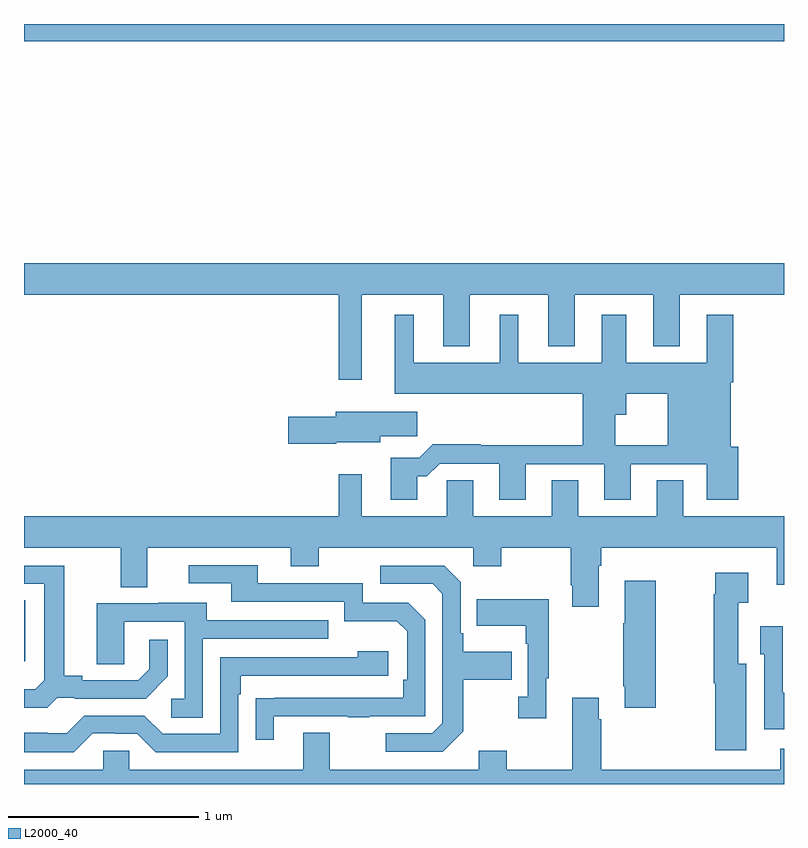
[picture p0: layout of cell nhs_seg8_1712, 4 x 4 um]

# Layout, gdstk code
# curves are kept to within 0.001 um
import gdstk
lib = gdstk.Library(unit=1e-6, precision=1e-09)
def R(c, l, rs):  # rectangles x0, y0, x1, y1
    for r in rs: c.add(gdstk.rectangle(r[:2], r[2:], *l))
def P(c, l, *ps):  # polygons
    for p in ps: c.add(gdstk.Polygon(p, *l))
L2000_40 = (2000, 40)

nhs_seg8_1712 = lib.new_cell('nhs_seg8_1712')
R(nhs_seg8_1712, L2000_40, [(219,1141.808,223,1141.9)])
P(nhs_seg8_1712, L2000_40, [(220.777,1140.476),(221.207,1140.476),(221.207,1140.203),(221.347,1140.203),(221.347,1140.476),(221.759,1140.476),(221.759,1140.203),(221.899,1140.203),(221.899,1140.476),(222.311,1140.476),(222.311,1140.203),(222.451,1140.203),(222.451,1140.476),(223,1140.476),(223,1140.64),(219,1140.64),(219,1140.476),(220.656,1140.476),(220.656,1140.027),(220.777,1140.027)],
  [(221.405,1139.687),(221.15,1139.687),(221.08,1139.617),(220.931,1139.617),(220.931,1139.397),(221.071,1139.397),(221.071,1139.519),(221.12,1139.519),(221.187,1139.586),(221.501,1139.586),(221.501,1139.397),(221.641,1139.397),(221.641,1139.583),(222.053,1139.583),(222.053,1139.397),(222.193,1139.397),(222.193,1139.583),(222.593,1139.583),(222.593,1139.397),(222.758,1139.397),(222.758,1139.676),(222.721,1139.676),(222.721,1140.014),(222.734,1140.014),(222.734,1140.37),(222.593,1140.37),(222.593,1140.118),(222.169,1140.118),(222.169,1140.37),(222.041,1140.37),(222.041,1140.118),(221.602,1140.118),(221.602,1140.37),(221.504,1140.37),(221.504,1140.118),(221.05,1140.118),(221.05,1140.37),(220.952,1140.37),(220.952,1139.954),(221.942,1139.954),(221.942,1139.684),(222.112,1139.684),(222.112,1139.843),(222.169,1139.843),(222.169,1139.954),(222.389,1139.954),(222.389,1139.684),(221.405,1139.684)],
  [(220.644,1139.699),(220.876,1139.699),(220.876,1139.731),(221.071,1139.731),(221.071,1139.86),(220.64,1139.86),(220.64,1139.834),(220.392,1139.834),(220.392,1139.692),(220.644,1139.692)],
  [(222.025,1139.048),(222.038,1139.048),(222.038,1139.144),(222.962,1139.144),(222.962,1138.95),(223,1138.95),(223,1139.308),(222.469,1139.308),(222.469,1139.498),(222.329,1139.498),(222.329,1139.308),(221.917,1139.308),(221.917,1139.498),(221.777,1139.498),(221.777,1139.308),(221.365,1139.308),(221.365,1139.498),(221.226,1139.498),(221.226,1139.308),(220.777,1139.308),(220.777,1139.53),(220.656,1139.53),(220.656,1139.308),(219,1139.308),(219,1139.144),(219.509,1139.144),(219.509,1138.936),(219.649,1138.936),(219.649,1139.144),(220.403,1139.144),(220.403,1139.045),(220.551,1139.045),(220.551,1139.144),(221.364,1139.144),(221.364,1139.045),(221.511,1139.045),(221.511,1139.144),(221.878,1139.144),(221.878,1138.945),(221.885,1138.945),(221.885,1138.833),(222.025,1138.833)],
  [(220.315,1138.257),(220.705,1138.257),(220.705,1138.252),(220.817,1138.252),(220.817,1138.257),(221.112,1138.257),(221.112,1138.764),(221.022,1138.854),(220.782,1138.854),(220.782,1138.956),(220.231,1138.956),(220.231,1139.052),(219.867,1139.052),(219.867,1138.956),(220.091,1138.956),(220.091,1138.86),(220.686,1138.86),(220.686,1138.757),(220.963,1138.757),(221.016,1138.704),(221.016,1138.45),(220.996,1138.45),(220.996,1138.353),(220.219,1138.352),(220.219,1138.134),(220.315,1138.134)],
  [(221.311,1138.177),(221.311,1138.45),(221.567,1138.45),(221.567,1138.597),(221.311,1138.597),(221.311,1138.693),(221.298,1138.693),(221.298,1138.962),(221.211,1139.049),(220.875,1139.049),(220.875,1138.953),(221.151,1138.953),(221.202,1138.902),(221.202,1138.221),(221.148,1138.167),(220.905,1138.167),(220.905,1138.071),(221.205,1138.071)],
  [(219.174,1138.353),(219.268,1138.353),(219.268,1138.35),(219.64,1138.35),(219.756,1138.466),(219.756,1138.66),(219.659,1138.66),(219.659,1138.503),(219.602,1138.446),(219.307,1138.446),(219.307,1138.469),(219.211,1138.469),(219.211,1139.049),(219,1139.049),(219,1138.953),(219.107,1138.953),(219.107,1138.445),(219.06,1138.398),(219,1138.398),(219,1138.301),(219.122,1138.301)],
  [(222.802,1138.534),(222.76,1138.534),(222.76,1138.855),(222.811,1138.855),(222.811,1139.011),(222.638,1139.011),(222.638,1138.898),(222.631,1138.898),(222.631,1138.43),(222.638,1138.43),(222.638,1138.077),(222.802,1138.077)],
  [(222.324,1138.969),(222.161,1138.969),(222.161,1138.745),(222.154,1138.745),(222.154,1138.414),(222.161,1138.414),(222.161,1138.302),(222.324,1138.302)],
  [(221.749,1138.457),(221.761,1138.457),(221.761,1138.873),(221.383,1138.873),(221.383,1138.733),(221.64,1138.733),(221.64,1138.637),(221.652,1138.637),(221.652,1138.358),(221.601,1138.358),(221.601,1138.245),(221.749,1138.245)],
  [(219.006,1138.55),(219.006,1138.868),(219,1138.868),(219,1138.544)],
  [(219.942,1138.665),(220.601,1138.665),(220.601,1138.761),(219.961,1138.761),(219.961,1138.855),(219.707,1138.855),(219.707,1138.851),(219.383,1138.851),(219.383,1138.531),(219.528,1138.531),(219.528,1138.755),(219.846,1138.755),(219.846,1138.35),(219.774,1138.35),(219.774,1138.249),(219.942,1138.249)],
  [(223,1138.381),(222.993,1138.381),(222.993,1138.729),(222.876,1138.729),(222.876,1138.584),(222.897,1138.584),(222.897,1138.188),(223,1138.188)],
  [(219.363,1138.167),(219.479,1138.167),(219.479,1138.164),(219.597,1138.164),(219.693,1138.068),(220.128,1138.068),(220.128,1138.373),(220.141,1138.373),(220.141,1138.47),(220.918,1138.47),(220.918,1138.6),(220.757,1138.6),(220.757,1138.566),(220.032,1138.566),(220.032,1138.164),(219.729,1138.164),(219.633,1138.26),(219.318,1138.26),(219.225,1138.167),(219.125,1138.167),(219.125,1138.171),(219,1138.171),(219,1138.067),(219.263,1138.067)],
  [(223,1138.086),(222.98,1138.086),(222.98,1137.976),(222.038,1137.976),(222.038,1138.241),(222.025,1138.241),(222.025,1138.354),(221.885,1138.354),(221.885,1137.976),(221.541,1137.976),(221.541,1138.075),(221.393,1138.075),(221.393,1137.976),(220.609,1137.976),(220.609,1138.171),(220.469,1138.171),(220.469,1137.976),(219.555,1137.976),(219.555,1138.074),(219.417,1138.074),(219.417,1137.976),(219,1137.976),(219,1137.9),(223,1137.9)])

lib.write_gds('nhs_seg8_1712.gds')
